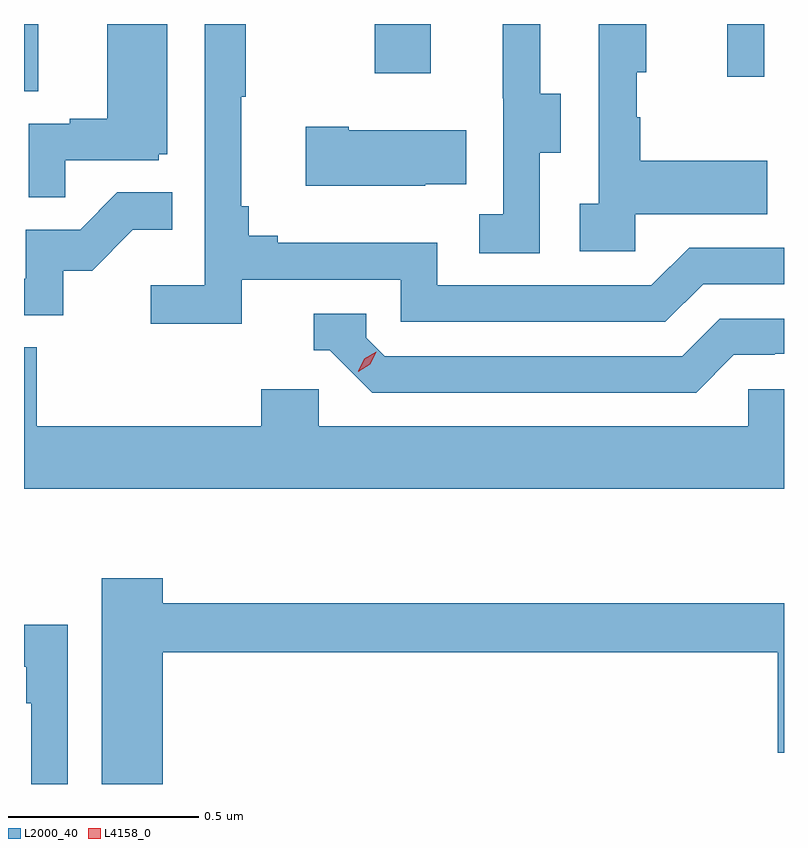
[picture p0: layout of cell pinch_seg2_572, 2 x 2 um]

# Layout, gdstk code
import gdstk
lib = gdstk.Library(unit=1e-6, precision=1e-09)
def R(c, l, rs):  # rectangles x0, y0, x1, y1
    for r in rs: c.add(gdstk.rectangle(r[:2], r[2:], *l))
def P(c, l, *ps):  # polygons
    for p in ps: c.add(gdstk.Polygon(p, *l))
L2000_40 = (2000, 40)
L4158_0 = (4158, 0)

pinch_seg2_572 = lib.new_cell('pinch_seg2_572')
R(pinch_seg2_572, L2000_40, [(1103.297,611.386,1103.335,611.563), (1105.148,611.424,1105.245,611.563), (1104.22,611.433,1104.367,611.563)])
P(pinch_seg2_572, L2000_40, [(1103.405,611.205),(1103.652,611.205),(1103.652,611.22),(1103.674,611.22),(1103.674,611.563),(1103.516,611.563),(1103.516,611.314),(1103.417,611.314),(1103.417,611.301),(1103.31,611.301),(1103.31,611.107),(1103.405,611.107)],
  [(1104.654,611.224),(1104.709,611.224),(1104.709,611.379),(1104.655,611.379),(1104.655,611.563),(1104.557,611.563),(1104.557,611.367),(1104.558,611.367),(1104.558,611.063),(1104.495,611.063),(1104.495,610.96),(1104.654,610.96)],
  [(1104.906,611.063),(1105.253,611.063),(1105.253,611.203),(1104.919,611.203),(1104.919,611.318),(1104.909,611.318),(1104.909,611.436),(1104.934,611.436),(1104.934,611.563),(1104.81,611.563),(1104.81,611.09),(1104.759,611.09),(1104.759,610.965),(1104.906,610.965)],
  [(1103.87,610.89),(1104.288,610.89),(1104.288,610.779),(1104.985,610.779),(1105.084,610.878),(1105.297,610.878),(1105.297,610.974),(1105.047,610.974),(1104.948,610.875),(1104.384,610.875),(1104.384,610.987),(1103.965,610.987),(1103.965,611.006),(1103.888,611.006),(1103.888,611.083),(1103.869,611.083),(1103.869,611.371),(1103.881,611.371),(1103.881,611.563),(1103.772,611.563),(1103.772,610.876),(1103.631,610.876),(1103.631,610.774),(1103.87,610.774)],
  [(1104.353,611.141),(1104.461,611.141),(1104.461,611.284),(1104.151,611.284),(1104.151,611.292),(1104.039,611.292),(1104.039,611.138),(1104.353,611.138)],
  [(1103.4,610.914),(1103.476,610.914),(1103.583,611.021),(1103.687,611.021),(1103.687,611.12),(1103.543,611.12),(1103.445,611.022),(1103.301,611.022),(1103.301,610.893),(1103.297,610.893),(1103.297,610.797),(1103.4,610.797)],
  [(1105.165,610.692),(1105.272,610.692),(1105.272,610.695),(1105.297,610.695),(1105.297,610.788),(1105.128,610.788),(1105.029,610.689),(1104.246,610.689),(1104.198,610.737),(1104.198,610.8),(1104.059,610.8),(1104.059,610.704),(1104.102,610.704),(1104.213,610.593),(1105.066,610.593)],
  [(1105.297,610.602),(1105.203,610.602),(1105.203,610.504),(1104.072,610.504),(1104.072,610.602),(1103.921,610.602),(1103.921,610.504),(1103.33,610.504),(1103.33,610.712),(1103.297,610.712),(1103.297,610.34),(1105.297,610.34)],
  [(1103.662,609.91),(1105.28,609.91),(1105.28,609.645),(1105.297,609.645),(1105.297,610.039),(1103.662,610.039),(1103.662,610.105),(1103.501,610.105),(1103.501,609.563),(1103.662,609.563)],
  [(1103.412,609.982),(1103.297,609.982),(1103.297,609.872),(1103.303,609.872),(1103.303,609.776),(1103.316,609.776),(1103.316,609.563),(1103.412,609.563)])
P(pinch_seg2_572, L4158_0, [(1104.177,610.648),(1104.177,610.649),(1104.193,610.682),(1104.224,610.701),(1104.224,610.701),(1104.224,610.701),(1104.208,610.668),(1104.177,610.648)])

lib.write_gds('pinch_seg2_572.gds')
